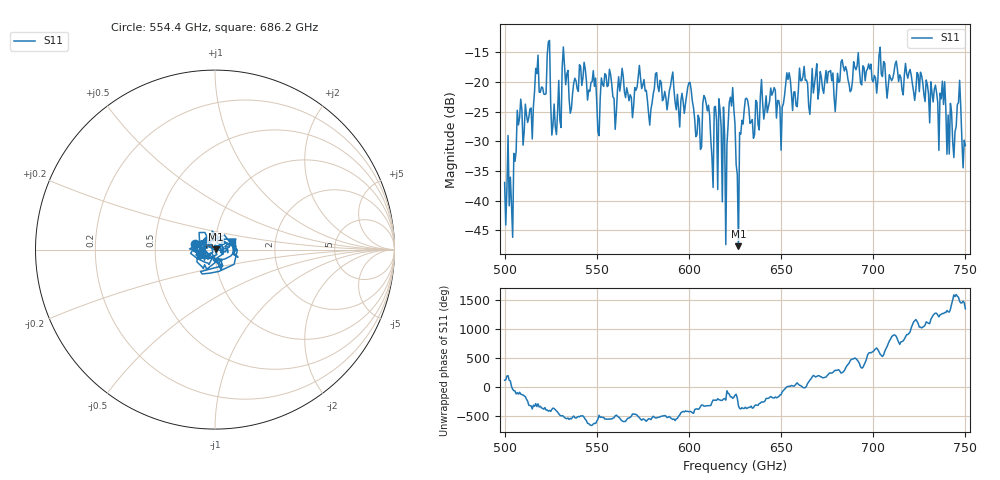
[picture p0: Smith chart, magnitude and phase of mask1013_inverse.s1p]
!Created with skrf (http://scikit-rf.org).
# GHz S MA R 50.0
!freq magS11 angS11
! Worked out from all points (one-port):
!   401 points, 500 GHz to 750 GHz, reference 50 ohm
!   lowest |S11| = -47.7 dB at 626.9 GHz (marker M1), VSWR 1.01, Z = 50.3 + j0.23 ohm
!   |S11| at or under -10 dB: start of sweep to end of sweep
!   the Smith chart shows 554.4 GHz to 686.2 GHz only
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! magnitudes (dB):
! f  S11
! 500 GHz  -36.9
! 503.8 GHz  -40.8
! 508.1 GHz  -26.1
! 513.8 GHz  -24.6
! 517.5 GHz  -18.6
! 523.8 GHz  -13.3
! 526.9 GHz  -23.7
! 531.2 GHz  -17.5
! 541.9 GHz  -20.6
! 551.2 GHz  -29.1
! 562.5 GHz  -21.6
! 593.8 GHz  -22.1
! 600.6 GHz  -20.1
! 605.6 GHz  -26.3
! 609.4 GHz  -23.7
! 619.4 GHz  -28.9
! 622.5 GHz  -22.6
! 625 GHz  -27.2
! 626.9 GHz  -47.7
! 631.2 GHz  -22.8
! 634.4 GHz  -26.4
! 656.2 GHz  -24.8
! 687.5 GHz  -21.7
! 718.8 GHz  -19.4
! 737.5 GHz  -19.9
! 742.5 GHz  -25.1
! 746.2 GHz  -23.5
! 750 GHz  -30.7
